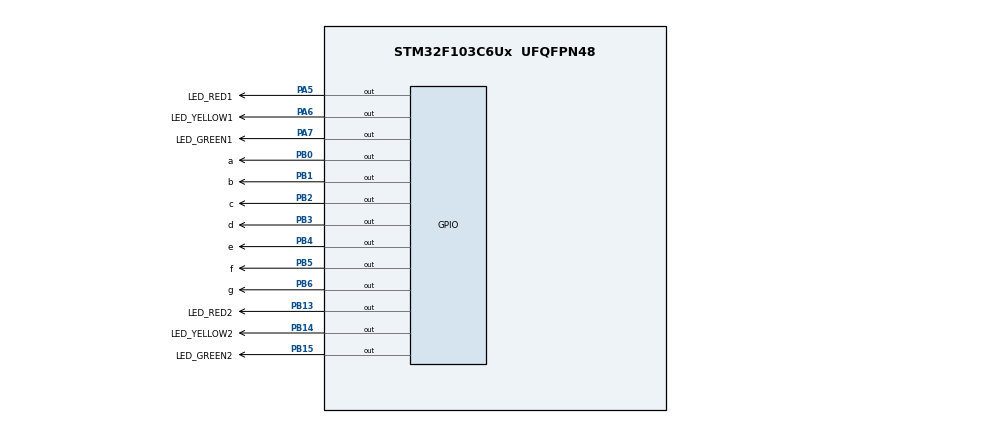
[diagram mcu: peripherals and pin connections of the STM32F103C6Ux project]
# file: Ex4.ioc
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Mcu.Family=STM32F1
Mcu.Name=STM32F103C6Ux
Mcu.Package=UFQFPN48
NVIC.PriorityGroup=NVIC_PRIORITYGROUP_4
PA5.GPIO_Label=LED_RED1
PA5.Signal=GPIO_Output
PA6.GPIO_Label=LED_YELLOW1
PA6.Signal=GPIO_Output
PA7.GPIO_Label=LED_GREEN1
PA7.Signal=GPIO_Output
PB0.GPIO_Label=a
PB0.Signal=GPIO_Output
PB1.GPIO_Label=b
PB1.Signal=GPIO_Output
PB13.GPIO_Label=LED_RED2
PB13.Signal=GPIO_Output
PB14.GPIO_Label=LED_YELLOW2
PB14.Signal=GPIO_Output
PB15.GPIO_Label=LED_GREEN2
PB15.Signal=GPIO_Output
PB2.GPIO_Label=c
PB2.Signal=GPIO_Output
PB3.GPIO_Label=d
PB3.Signal=GPIO_Output
PB4.GPIO_Label=e
PB4.Signal=GPIO_Output
PB5.GPIO_Label=f
PB5.Signal=GPIO_Output
PB6.GPIO_Label=g
PB6.Signal=GPIO_Output
ProjectManager.HeapSize=0x200
ProjectManager.StackSize=0x400
ProjectManager.TargetToolchain=STM32CubeIDE
RCC.APB1Freq_Value=8000000
RCC.APB2Freq_Value=8000000
VP_SYS_VS_ND.Mode=No_Debug
board=custom

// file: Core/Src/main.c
/* USER CODE BEGIN Header */
/**
  ******************************************************************************
  * @file           : main.c
  * @brief          : Main program body
  ******************************************************************************
  * @attention
  *
  * <h2><center>&copy; Copyright (c) 2022 STMicroelectronics.
  * All rights reserved.</center></h2>
  *
  * This software component is licensed by ST under BSD 3-Clause license,
  * the "License"; You may not use this file except in compliance with the
  * License. You may obtain a copy of the License at:
  *                        opensource.org/licenses/BSD-3-Clause
  *
  ******************************************************************************
  */
/* USER CODE END Header */
#include "main.h"

void SystemClock_Config(void);
static void MX_GPIO_Init(void);
/* USER CODE BEGIN PFP */
void display7SEG(int num);
/* USER CODE END PFP */

int main(void)
{

  /* MCU Configuration--------------------------------------------------------*/

  /* Reset of all peripherals, Initializes the Flash interface and the Systick. */
  HAL_Init();

  /* USER CODE BEGIN Init */
  int led1=0,led2=2,dem1=0,dem2=0,counter=0;
  /* USER CODE END Init */

  /* Configure the system clock */
  SystemClock_Config();

  /* Initialize all configured peripherals */
  MX_GPIO_Init();

  /* Infinite loop */
  while (1)
  {
	  switch (led1)
	  	  	  	  	  	  	  {
	  	  	  	  	  	  	  case 0:
	  	  	  	  	  	  		  display7SEG(5-dem1);
	  	  	  	  	  	  		  if (dem1==4)
	  	  	  	  	  	  		  {
	  	  	  	  	  	  			  led1=2;
	  	  	  	  	  	  			  dem1=0;
	  	  	  	  	  	  			  break;
	  	  	  	  	  	  		  }
	  	  	  	  	  	  		  HAL_GPIO_WritePin ( LED_RED1_GPIO_Port , LED_RED1_Pin , 0);
	  	  	  	  	  	  		  HAL_GPIO_WritePin ( LED_YELLOW1_GPIO_Port , LED_YELLOW1_Pin , 1);
	  	  	  	  	  	  		  HAL_GPIO_WritePin ( LED_GREEN1_GPIO_Port , LED_GREEN1_Pin , 1);
	  	  	  	  	  	  		  dem1++;
	  	  	  	  	  	  		  break;
	  	  	  	  	  	  	  case 1:
	  	  	  	  	  	  display7SEG(2-dem1);
	  	  	  	  	  	  		  if (dem1==1)
	  	  	  	  	  	  		  {
	  	  	  	  	  	  			  led1=0;
	  	  	  	  	  	  			  dem1=0;
	  	  	  	  	  	  			  break;
	  	  	  	  	  	  		  }
	  	  	  	  	  	  		HAL_GPIO_WritePin ( LED_RED1_GPIO_Port , LED_RED1_Pin , 1);
	  	  	  	  	  	  			  	  		  HAL_GPIO_WritePin ( LED_YELLOW1_GPIO_Port , LED_YELLOW1_Pin , 0);
	  	  	  	  	  	  			  	  		  HAL_GPIO_WritePin ( LED_GREEN1_GPIO_Port , LED_GREEN1_Pin , 1);

	  	  	  	  	  	  		  dem1++;
	  	  	  	  	  	  		  break;
	  	  	  	  	  	  	  case 2:
	  	  	  	  	  	  		  	  display7SEG(3-dem1);
	  	  	  	  	  	  		  		  if (dem1==2)
	  	  	  	  	  	  		  		  {
	  	  	  	  	  	  		  			  led1=1;
	  	  	  	  	  	  		  			  dem1=0;
	  	  	  	  	  	  		  			  break;
	  	  	  	  	  	  		  		  }
	  	  	  	  	  	  		  	HAL_GPIO_WritePin ( LED_RED1_GPIO_Port , LED_RED1_Pin , 1);
	  	  	  	  	  	  		  		  	  		  HAL_GPIO_WritePin ( LED_YELLOW1_GPIO_Port , LED_YELLOW1_Pin , 1);
	  	  	  	  	  	  		  		  	  		  HAL_GPIO_WritePin ( LED_GREEN1_GPIO_Port , LED_GREEN1_Pin , 0);

	  	  	  	  	  	  		  		  dem1++;
	  	  	  	  	  	  		  		  break;
	  	  	  	  	  	  	  default: break;
	  	  	  	  	  	  	  }
	  	  	  	  	  switch (led2)
	  	  	  	  	  	  	  	  {
	  	  	  	  	  	  	  	  case 0:
	  	  	  	  	  	  	  		  if (dem2==4)
	  	  	  	  	  	  	  		  {
	  	  	  	  	  	  	  			  led2=2;
	  	  	  	  	  	  	  			  dem2=0;
	  	  	  	  	  	  	  			  break;
	  	  	  	  	  	  	  		  }
	  	  	  	  	  	  	  		  HAL_GPIO_WritePin ( LED_RED2_GPIO_Port , LED_RED2_Pin , 0);
	  	  	  	  	  	  	  		  HAL_GPIO_WritePin ( LED_YELLOW2_GPIO_Port , LED_YELLOW2_Pin , 1);
	  	  	  	  	  	  	  		  HAL_GPIO_WritePin ( LED_GREEN2_GPIO_Port , LED_GREEN2_Pin , 1);
	  	  	  	  	  	  	  		  dem2++;
	  	  	  	  	  	  	  		  break;
	  	  	  	  	  	  	  	  case 1:
	  	  	  	  	  	  	  		  if (dem2==1)
	  	  	  	  	  	  	  		  {
	  	  	  	  	  	  	  			  led2=0;
	  	  	  	  	  	  	  			  dem2=0;
	  	  	  	  	  	  	  			  break;
	  	  	  	  	  	  	  		  }
	  	  	  	  	  	  	  	HAL_GPIO_WritePin ( LED_RED2_GPIO_Port , LED_RED2_Pin , 1);
	  	  	  	  	  	  	  		  	  	  		  HAL_GPIO_WritePin ( LED_YELLOW2_GPIO_Port , LED_YELLOW2_Pin , 0);
	  	  	  	  	  	  	  		  	  	  		  HAL_GPIO_WritePin ( LED_GREEN2_GPIO_Port , LED_GREEN2_Pin , 1);
	  	  	  	  	  	  	  		  dem2++;
	  	  	  	  	  	  	  		  break;
	  	  	  	  	  	  	  	  case 2:
	  	  	  	  	  	  	  		  		  if (dem2==2)
	  	  	  	  	  	  	  		  		  {
	  	  	  	  	  	  	  		  			  led2=1;
	  	  	  	  	  	  	  		  			  dem2=0;
	  	  	  	  	  	  	  		  			  break;
	  	  	  	  	  	  	  		  		  }
	  	  	  	  	  	  	  		  	HAL_GPIO_WritePin ( LED_RED2_GPIO_Port , LED_RED2_Pin , 1);
	  	  	  	  	  	  	  		  		  	  	  		  HAL_GPIO_WritePin ( LED_YELLOW2_GPIO_Port , LED_YELLOW2_Pin , 1);
	  	  	  	  	  	  	  		  		  	  	  		  HAL_GPIO_WritePin ( LED_GREEN2_GPIO_Port , LED_GREEN2_Pin , 0);

	  	  	  	  	  	  	  		  		  dem2++;
	  	  	  	  	  	  	  		  		  break;
	  	  	  	  	  	  	  	  default: break;
	  	  	  	  	  	  	  	  }

	  	  	  	if( counter >= 10) counter = 0;
	  	  	  	display7SEG ( counter ++) ;

	  	  	  	  	  	  	  HAL_Delay(1000);

  }
}

void SystemClock_Config(void)
{
  RCC_OscInitTypeDef RCC_OscInitStruct = {0};
  RCC_ClkInitTypeDef RCC_ClkInitStruct = {0};

  /** Initializes the RCC Oscillators according to the specified parameters
  * in the RCC_OscInitTypeDef structure.
  */
  RCC_OscInitStruct.OscillatorType = RCC_OSCILLATORTYPE_HSI;
  RCC_OscInitStruct.HSIState = RCC_HSI_ON;
  RCC_OscInitStruct.HSICalibrationValue = RCC_HSICALIBRATION_DEFAULT;
  RCC_OscInitStruct.PLL.PLLState = RCC_PLL_NONE;
  if (HAL_RCC_OscConfig(&RCC_OscInitStruct) != HAL_OK)
  {
    Error_Handler();
  }
  /** Initializes the CPU, AHB and APB buses clocks
  */
  RCC_ClkInitStruct.ClockType = RCC_CLOCKTYPE_HCLK|RCC_CLOCKTYPE_SYSCLK
                              |RCC_CLOCKTYPE_PCLK1|RCC_CLOCKTYPE_PCLK2;
  RCC_ClkInitStruct.SYSCLKSource = RCC_SYSCLKSOURCE_HSI;
  RCC_ClkInitStruct.AHBCLKDivider = RCC_SYSCLK_DIV1;
  RCC_ClkInitStruct.APB1CLKDivider = RCC_HCLK_DIV1;
  RCC_ClkInitStruct.APB2CLKDivider = RCC_HCLK_DIV1;

  if (HAL_RCC_ClockConfig(&RCC_ClkInitStruct, FLASH_LATENCY_0) != HAL_OK)
  {
    Error_Handler();
  }
}

static void MX_GPIO_Init(void)
{
  GPIO_InitTypeDef GPIO_InitStruct = {0};

  /* GPIO Ports Clock Enable */
  __HAL_RCC_GPIOA_CLK_ENABLE();
  __HAL_RCC_GPIOB_CLK_ENABLE();

  /*Configure GPIO pin Output Level */
  HAL_GPIO_WritePin(GPIOA, LED_RED1_Pin|LED_YELLOW1_Pin|LED_GREEN1_Pin, GPIO_PIN_RESET);

  /*Configure GPIO pin Output Level */
  HAL_GPIO_WritePin(GPIOB, a_Pin|b_Pin|c_Pin|LED_RED2_Pin
                          |LED_YELLOW2_Pin|LED_GREEN2_Pin|d_Pin|e_Pin
                          |f_Pin|g_Pin, GPIO_PIN_RESET);

  /*Configure GPIO pins : LED_RED1_Pin LED_YELLOW1_Pin LED_GREEN1_Pin */
  GPIO_InitStruct.Pin = LED_RED1_Pin|LED_YELLOW1_Pin|LED_GREEN1_Pin;
  GPIO_InitStruct.Mode = GPIO_MODE_OUTPUT_PP;
  GPIO_InitStruct.Pull = GPIO_NOPULL;
  GPIO_InitStruct.Speed = GPIO_SPEED_FREQ_LOW;
  HAL_GPIO_Init(GPIOA, &GPIO_InitStruct);

  /*Configure GPIO pins : a_Pin b_Pin c_Pin LED_RED2_Pin
                           LED_YELLOW2_Pin LED_GREEN2_Pin d_Pin e_Pin
                           f_Pin g_Pin */
  GPIO_InitStruct.Pin = a_Pin|b_Pin|c_Pin|LED_RED2_Pin
                          |LED_YELLOW2_Pin|LED_GREEN2_Pin|d_Pin|e_Pin
                          |f_Pin|g_Pin;
  GPIO_InitStruct.Mode = GPIO_MODE_OUTPUT_PP;
  GPIO_InitStruct.Pull = GPIO_NOPULL;
  GPIO_InitStruct.Speed = GPIO_SPEED_FREQ_LOW;
  HAL_GPIO_Init(GPIOB, &GPIO_InitStruct);

}

/* USER CODE BEGIN 4 */
void display7SEG(int num)
{
	switch(num)
	{
	case 0:
		HAL_GPIO_WritePin(GPIOB, a_Pin|b_Pin|c_Pin|d_Pin|e_Pin|f_Pin, GPIO_PIN_RESET);
		HAL_GPIO_WritePin(GPIOB, g_Pin, GPIO_PIN_SET);
		break;
	case 1:
		HAL_GPIO_WritePin(GPIOB, a_Pin|d_Pin|e_Pin|f_Pin|g_Pin, GPIO_PIN_SET);
		HAL_GPIO_WritePin(GPIOB, b_Pin|c_Pin, GPIO_PIN_RESET);
		break;
	case 2:
		HAL_GPIO_WritePin(GPIOB, a_Pin|d_Pin|e_Pin|b_Pin|g_Pin, GPIO_PIN_RESET);
		HAL_GPIO_WritePin(GPIOB, f_Pin|c_Pin, GPIO_PIN_SET);
		break;
	case 3:
		HAL_GPIO_WritePin(GPIOB, a_Pin|d_Pin|c_Pin|b_Pin|g_Pin, GPIO_PIN_RESET);
		HAL_GPIO_WritePin(GPIOB, f_Pin|e_Pin, GPIO_PIN_SET);
		break;
	case 4:
		HAL_GPIO_WritePin(GPIOB, b_Pin|c_Pin|f_Pin|g_Pin, GPIO_PIN_RESET);
		HAL_GPIO_WritePin(GPIOB, a_Pin|e_Pin|d_Pin, GPIO_PIN_SET);
		break;
	case 5:
		HAL_GPIO_WritePin(GPIOB, a_Pin|c_Pin|d_Pin|f_Pin|g_Pin, GPIO_PIN_RESET);
		HAL_GPIO_WritePin(GPIOB, b_Pin|e_Pin, GPIO_PIN_SET);
		break;
	case 6:
		HAL_GPIO_WritePin(GPIOB, a_Pin|c_Pin|d_Pin|e_Pin|f_Pin|g_Pin, GPIO_PIN_RESET);
		HAL_GPIO_WritePin(GPIOB, b_Pin, GPIO_PIN_SET);
		break;
	case 7:
		HAL_GPIO_WritePin(GPIOB, a_Pin|b_Pin|c_Pin, GPIO_PIN_RESET);
		HAL_GPIO_WritePin(GPIOB, f_Pin|d_Pin|e_Pin|g_Pin, GPIO_PIN_SET);
		break;
	case 8:
		HAL_GPIO_WritePin(GPIOB, a_Pin|b_Pin|c_Pin|f_Pin|d_Pin|e_Pin|g_Pin, GPIO_PIN_RESET);
		break;
	case 9:
		HAL_GPIO_WritePin(GPIOB, a_Pin|b_Pin|c_Pin|f_Pin|d_Pin|e_Pin|g_Pin, GPIO_PIN_RESET);
		HAL_GPIO_WritePin(GPIOB, e_Pin, GPIO_PIN_SET);
		break;
	default: break;
	}
}

/* USER CODE END 4 */

void Error_Handler(void)
{
  __disable_irq();
  while (1)
  {
  }
}

/************************ (C) COPYRIGHT STMicroelectronics *****END OF FILE****/
